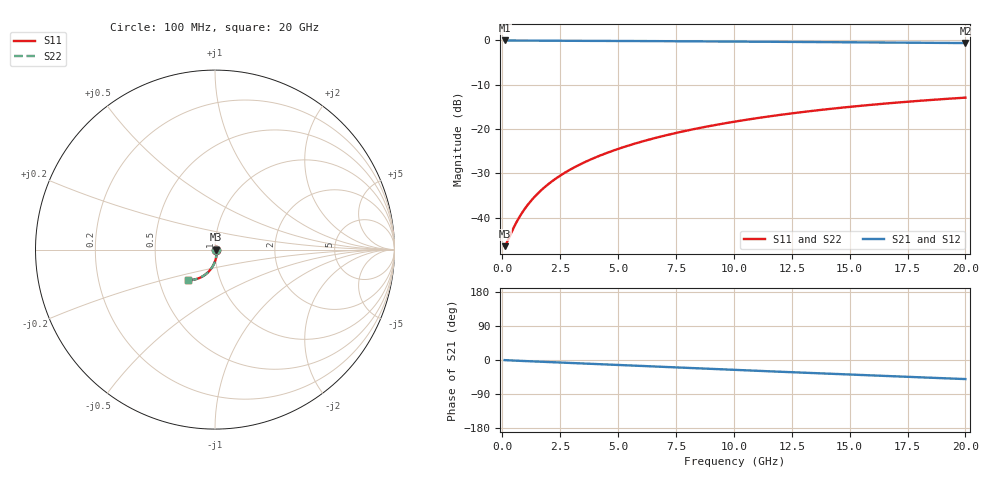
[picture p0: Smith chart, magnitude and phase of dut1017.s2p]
! Touchstone file exported from HFSS 2026.1.0
!  File:  C:/ffzhzh/LocalFiles/Ansys_Project_Files/temp_train_TMRDL_1017_1783159787_18472.aedt
!  Generated:  06:11:21 PM Jul  4, 2026
!  Design:  TMRDL
!  Project:  temp_train_TMRDL_1017_1783159787_18472
! Variables:
!  h_bsmrdl = 2um
!  h_ox = 20um
!  h_rdl = 5um
!  h_sub = 80um
!  h_tmrdl = 3.29um
!  h_tsv = 80um
!  h_via = 3um
!  l_bsmrdl = 300um
!  l_sub = 1259.1um
!  l_tmrdl = 859.1um
!  m_sub = 200um
!  pitch = 22.23um
!  r_tsv = 6um
!  s_tmrdl = 10um
!  w_bsmrdl = 18um
!  w_sub = 500um
!  w_tmrdl = 20.6um
!  x_tsv_center1 = 869.4um
!  x_tsv_center2 = 1187.4um
!  x_tsv_center3 = 2067.1um
!  x_tsv_center4 = 2385.1um
!  x_tsv_center5 = 3264.8um
!  x_tsv_center6 = 3582.8um
# GHz S MA R 50.000000
! Terminal data exported
! Port[1] = TM_RDL1_1_T1
! Port[2] = TM_RDL1_1_T2
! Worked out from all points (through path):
!   200 points, 100 MHz to 20 GHz, reference 50 ohm
!   highest |S21| = -0.04 dB at 100 MHz (marker M1); lowest = -0.6 dB at 20 GHz (marker M2)
!   group delay of S21, straight-line fit = 6.97 ps
!   lowest |S11| = -46.4 dB at 100 MHz (marker M3), VSWR 1.01, Z = 50.5 - j0.0105 ohm
!   |S11| at or under -10 dB: start of sweep to end of sweep
!   |S22| runs from -46.4 to -12.9 dB; largest |S21 - S12| = 2.5e-15
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0.1  0.004803 -1.2  0.9952 -0.3  0.9952 -0.3  0.004803 -1.2
! Gamma 0 0 0 0
! Port Impedance 50 0 50 0
0.2  0.005317 -4.2  0.9947 -0.6  0.9947 -0.6  0.005317 -4.2
0.5  0.007835 -20.9  0.9926 -1.5  0.9926 -1.5  0.007835 -20.9
0.6  0.008811 -26.7  0.992 -1.8  0.992 -1.8  0.008811 -26.7
0.8  0.01085 -37.0  0.991 -2.3  0.991 -2.3  0.01085 -37.0
1.1  0.01404 -48.6  0.9901 -3.1  0.9901 -3.1  0.01404 -48.6
1.4  0.01734 -56.8  0.9894 -3.9  0.9894 -3.9  0.01734 -56.8
1.8  0.02184 -64.4  0.9887 -4.9  0.9887 -4.9  0.02185 -64.4
2.3  0.02759 -71.0  0.9879 -6.2  0.9879 -6.2  0.02759 -71.0
2.9  0.03459 -76.5  0.9869 -7.8  0.9869 -7.8  0.03459 -76.5
3.5  0.04169 -80.6  0.9857 -9.3  0.9857 -9.3  0.04169 -80.6
4.2  0.05007 -84.4  0.9843 -11.2  0.9843 -11.2  0.05008 -84.4
5  0.05976 -88.0  0.9824 -13.2  0.9824 -13.2  0.05976 -88.0
5.9  0.07075 -91.5  0.98 -15.6  0.98 -15.6  0.07076 -91.4
6.8  0.08181 -94.6  0.9775 -17.9  0.9775 -17.9  0.08181 -94.6
8.4  0.1014 -99.7  0.9726 -22.0  0.9726 -22.0  0.1015 -99.6
10.1  0.1221 -104.7  0.9669 -26.3  0.9669 -26.3  0.1221 -104.7
11.7  0.141 -109.2  0.9613 -30.2  0.9613 -30.2  0.141 -109.2
13.4  0.1604 -113.9  0.9551 -34.4  0.9551 -34.4  0.1605 -113.9
15  0.1779 -118.2  0.9492 -38.4  0.9492 -38.4  0.1779 -118.2
16.7  0.1954 -122.7  0.9428 -42.5  0.9428 -42.5  0.1954 -122.6
20  0.226 -131.0  0.9303 -50.3  0.9303 -50.3  0.2261 -131.0
